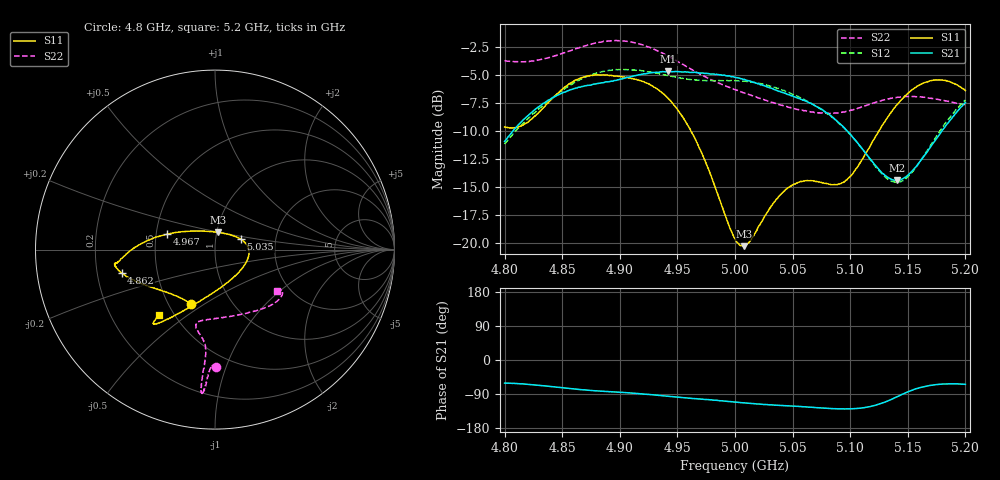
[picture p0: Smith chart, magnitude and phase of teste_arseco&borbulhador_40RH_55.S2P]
! Network Analyzer HP8722D
! Hewlett-Packard
! Data name: Linha & Wilkinson
! Saver's name: Rodrigo Anjos
! Comments: Teste da utilização de aquisição
! continua pelo VNA HP8722D
! Time and date: 15/4/2025 16:48
!  Frequency  S11  S21  S12  S22
# HZ  S  MA R 50
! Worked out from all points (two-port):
!   401 points, 4.8 GHz to 5.2 GHz, reference 50 ohm
!   highest |S21| = -4.64 dB at 4.942 GHz (marker M1); lowest = -14.4 dB at 5.141 GHz (marker M2)
!   |S21| within 3 dB of the highest: 4.832 GHz to 5.068 GHz (236.6 MHz wide, 4.78 % of centre); 5.197965 GHz to end of sweep
!   lowest |S11| = -20.2 dB at 5.008 GHz (marker M3), VSWR 1.22, Z = 51 + j9.82 ohm
!   |S11| at or under -10 dB: 4.962 GHz to 5.125 GHz (162.8 MHz wide, 3.23 % of centre)
!   |S22| runs from -8.4 to -1.9 dB; largest |S21 - S12| = 0.88
!   S11 on the Smith chart (normalised r, x): 4.8 GHz: 0.65, -0.44; 4.862 GHz: 0.31, -0.11; 4.967 GHz: 0.57, +0.11; 5.035 GHz: 1.33, +0.16; 5.2 GHz: 0.41, -0.39
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4.8e9  0.3313 -114.0  0.2852 -60.9  0.2778 -175.2  0.655 -89.6
4.819e9  0.3453 -133.9  0.3674 -64.0  0.3551 -173.5  0.6489 -91.3
4.84e9  0.436 -153.0  0.4408 -69.8  0.4414 -173.9  0.6783 -92.6
4.862e9  0.5364 -165.9  0.4939 -76.8  0.5273 -176.6  0.7404 -93.8
4.867e9  0.5497 -167.8  0.5018 -78.4  0.5428 -177.8  0.7539 -93.8
4.898e9  0.5579 -172.3  0.5373 -84.7  0.5952 176.0  0.8037 -95.1
4.934e9  0.4828 -178.3  0.5807 -93.5  0.5733 171.8  0.7184 -95.7
4.942e9  0.4436 178.2  0.5859 -95.7  0.5612 171.9  0.6843 -95.6
4.967e9  0.2813 162.4  0.5789 -102.1  0.5358 173.8  0.5791 -95.1
5e9  0.1049 106.0  0.5516 -111.2  0.5331 176.3  0.485 -99.4
5.008e9  0.09728 78.7  0.5408 -113.2  0.5301 176.2  0.4703 -101.2
5.035e9  0.155 21.8  0.4845 -119.1  0.4968 174.9  0.4223 -103.9
5.05e9  0.1826 6.2  0.456 -121.7  0.4622 174.4  0.402 -100.2
5.067e9  0.1904 -12.2  0.4185 -124.8  0.4202 173.8  0.3863 -91.7
5.086e9  0.1833 -42.8  0.3617 -128.4  0.3603 173.8  0.3817 -77.5
5.097e9  0.192 -65.8  0.3193 -129.1  0.3193 174.5  0.3889 -68.3
5.134e9  0.3749 -116.5  0.1953 -106.2  0.1917 -159.1  0.4431 -43.4
5.141e9  0.4181 -120.5  0.1913 -96.4  0.1876 -148.0  0.4493 -40.2
5.153e9  0.4816 -125.3  0.2085 -80.5  0.2062 -129.6  0.4528 -36.0
5.17e9  0.5328 -128.8  0.2706 -66.8  0.2751 -112.9  0.4447 -32.2
5.184e9  0.531 -130.2  0.3412 -63.2  0.3519 -107.3  0.4321 -31.2
5.2e9  0.481 -130.6  0.425 -64.2  0.4368 -106.2  0.4161 -33.5
